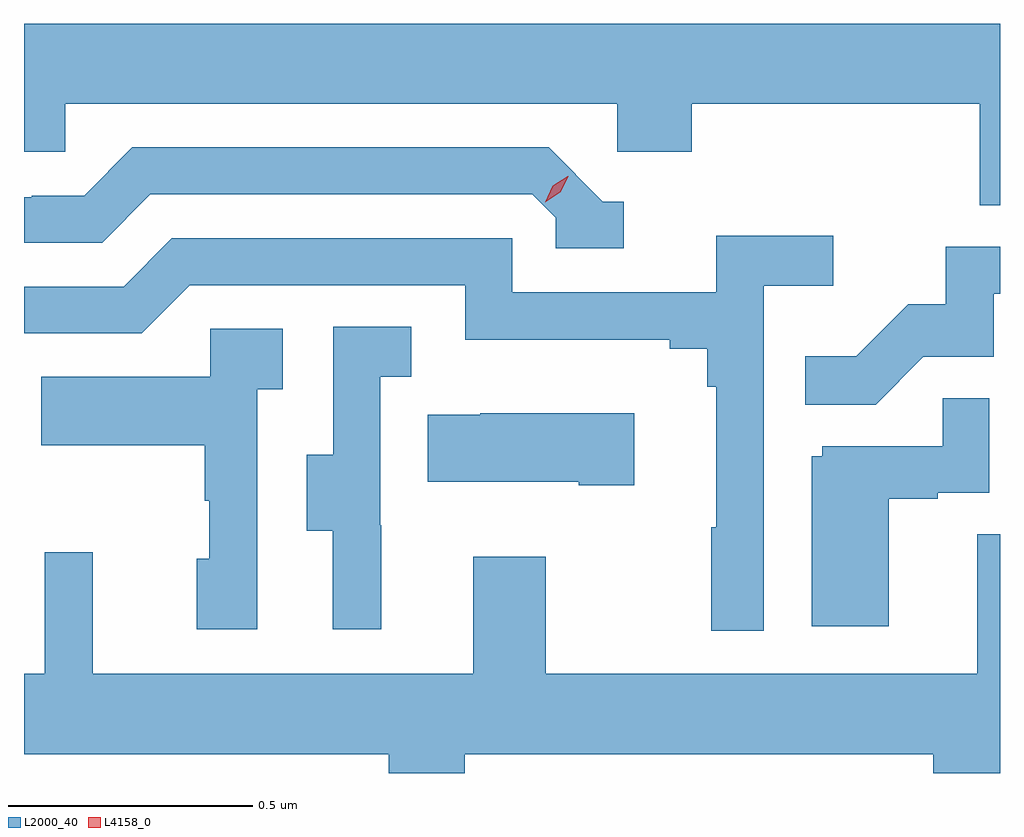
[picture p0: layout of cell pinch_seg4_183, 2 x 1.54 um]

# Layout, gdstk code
import gdstk
lib = gdstk.Library(unit=1e-6, precision=1e-09)
def P(c, l, *ps):  # polygons
    for p in ps: c.add(gdstk.Polygon(p, *l))
L2000_40 = (2000, 40)
L4158_0 = (4158, 0)

pinch_seg4_183 = lib.new_cell('pinch_seg4_183')
P(pinch_seg4_183, L2000_40, [(1094.578,802.312),(1092.578,802.312),(1092.578,802.05),(1092.663,802.05),(1092.663,802.148),(1093.794,802.148),(1093.794,802.05),(1093.946,802.05),(1093.946,802.148),(1094.537,802.148),(1094.537,801.94),(1094.578,801.94)],
  [(1093.807,801.948),(1093.764,801.948),(1093.653,802.059),(1092.8,802.059),(1092.701,801.96),(1092.594,801.96),(1092.594,801.957),(1092.578,801.957),(1092.578,801.864),(1092.738,801.864),(1092.837,801.963),(1093.62,801.963),(1093.668,801.915),(1093.668,801.852),(1093.807,801.852)],
  [(1094.094,801.776),(1094.236,801.776),(1094.236,801.878),(1093.997,801.878),(1093.997,801.762),(1093.578,801.762),(1093.578,801.873),(1092.881,801.873),(1092.782,801.774),(1092.578,801.774),(1092.578,801.678),(1092.819,801.678),(1092.918,801.777),(1093.482,801.777),(1093.482,801.665),(1093.901,801.665),(1093.901,801.646),(1093.978,801.646),(1093.978,801.569),(1093.997,801.569),(1093.997,801.281),(1093.986,801.281),(1093.986,801.069),(1094.094,801.069)],
  [(1094.421,801.63),(1094.565,801.63),(1094.565,801.759),(1094.578,801.759),(1094.578,801.855),(1094.467,801.855),(1094.467,801.738),(1094.39,801.738),(1094.283,801.631),(1094.179,801.631),(1094.179,801.532),(1094.323,801.532)],
  [(1093.31,801.285),(1093.308,801.285),(1093.308,801.589),(1093.372,801.589),(1093.372,801.692),(1093.212,801.692),(1093.212,801.429),(1093.157,801.429),(1093.157,801.274),(1093.211,801.274),(1093.211,801.072),(1093.31,801.072)],
  [(1093.056,801.563),(1093.108,801.563),(1093.108,801.687),(1092.96,801.687),(1092.96,801.589),(1092.613,801.589),(1092.613,801.449),(1092.948,801.449),(1092.948,801.335),(1092.958,801.335),(1092.958,801.216),(1092.932,801.216),(1092.932,801.072),(1093.056,801.072)],
  [(1094.35,801.339),(1094.45,801.339),(1094.45,801.351),(1094.556,801.351),(1094.556,801.545),(1094.461,801.545),(1094.461,801.447),(1094.214,801.447),(1094.214,801.426),(1094.192,801.426),(1094.192,801.078),(1094.35,801.078)],
  [(1093.828,801.514),(1093.513,801.514),(1093.513,801.511),(1093.405,801.511),(1093.405,801.374),(1093.715,801.374),(1093.715,801.367),(1093.828,801.367)],
  [(1093.481,800.816),(1094.441,800.816),(1094.441,800.777),(1094.578,800.777),(1094.578,801.266),(1094.531,801.266),(1094.531,800.98),(1093.647,800.98),(1093.647,801.22),(1093.499,801.22),(1093.499,800.98),(1092.719,800.98),(1092.719,801.229),(1092.621,801.229),(1092.621,800.98),(1092.578,800.98),(1092.578,800.816),(1093.325,800.816),(1093.325,800.777),(1093.481,800.777)])
P(pinch_seg4_183, L4158_0, [(1093.646,801.947),(1093.646,801.947),(1093.662,801.98),(1093.692,802),(1093.693,802),(1093.693,801.999),(1093.677,801.967),(1093.646,801.947)])

lib.write_gds('pinch_seg4_183.gds')
